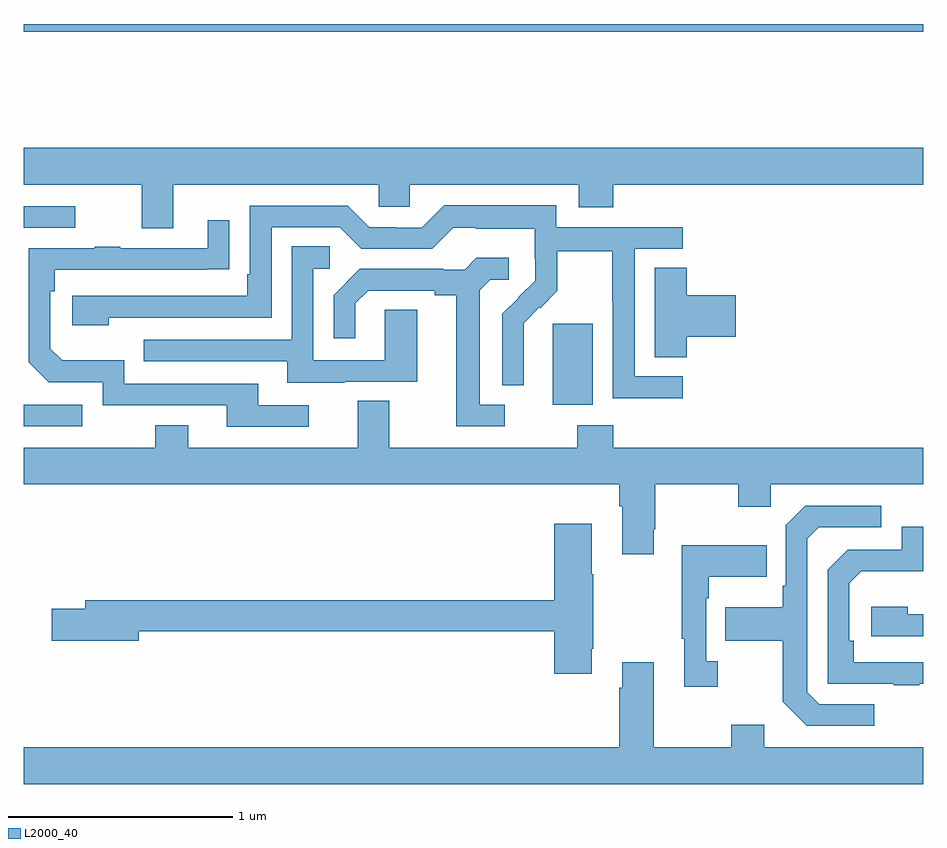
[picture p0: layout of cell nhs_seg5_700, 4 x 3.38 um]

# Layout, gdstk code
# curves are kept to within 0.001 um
import gdstk
lib = gdstk.Library(unit=1e-6, precision=1e-09)
def R(c, l, rs):  # rectangles x0, y0, x1, y1
    for r in rs: c.add(gdstk.rectangle(r[:2], r[2:], *l))
def P(c, l, *ps):  # polygons
    for p in ps: c.add(gdstk.Polygon(p, *l))
L2000_40 = (2000, 40)

nhs_seg5_700 = lib.new_cell('nhs_seg5_700')
R(nhs_seg5_700, L2000_40, [(155,865.011,155.26,865.107), (157.352,865.106,157.531,865.467), (155,865.893,155.23,865.989), (155,866.764,159,866.799)])
P(nhs_seg5_700, L2000_40, [(155.665,866.084),(156.579,866.084),(156.579,865.986),(156.717,865.986),(156.717,866.084),(157.469,866.084),(157.469,865.985),(157.622,865.985),(157.622,866.084),(159,866.084),(159,866.248),(155,866.248),(155,866.084),(155.525,866.084),(155.525,865.89),(155.665,865.89)],
  [(157.93,865.233),(157.716,865.233),(157.716,865.8),(157.93,865.8),(157.93,865.896),(157.368,865.896),(157.368,865.993),(156.871,865.993),(156.771,865.893),(156.656,865.893),(156.656,865.896),(156.537,865.896),(156.441,865.992),(156.006,865.992),(156.006,865.687),(155.993,865.687),(155.993,865.59),(155.217,865.59),(155.217,865.46),(155.378,865.46),(155.378,865.494),(156.102,865.494),(156.102,865.896),(156.405,865.896),(156.501,865.8),(156.816,865.8),(156.909,865.893),(157.009,865.893),(157.009,865.889),(157.272,865.889),(157.272,865.755),(157.274,865.755),(157.274,865.658),(157.128,865.51),(157.128,865.192),(157.224,865.192),(157.223,865.469),(157.293,865.539),(157.296,865.536),(157.373,865.613),(157.373,865.788),(157.618,865.788),(157.618,865.564),(157.62,865.564),(157.62,865.135),(157.93,865.135)],
  [(156.268,865.104),(156.043,865.104),(156.043,865.2),(155.448,865.2),(155.448,865.303),(155.171,865.303),(155.118,865.356),(155.118,865.61),(155.138,865.61),(155.138,865.707),(155.915,865.708),(155.915,865.927),(155.819,865.927),(155.819,865.803),(155.429,865.803),(155.429,865.808),(155.317,865.808),(155.317,865.803),(155.022,865.803),(155.022,865.296),(155.112,865.206),(155.352,865.206),(155.352,865.104),(155.903,865.104),(155.903,865.008),(156.268,865.008)],
  [(156.427,865.209),(156.751,865.209),(156.751,865.529),(156.606,865.529),(156.606,865.305),(156.288,865.305),(156.288,865.71),(156.361,865.71),(156.361,865.811),(156.192,865.811),(156.192,865.395),(155.533,865.395),(155.533,865.299),(156.173,865.299),(156.173,865.205),(156.427,865.205)],
  [(157.138,865.107),(157.027,865.107),(157.027,865.615),(157.074,865.662),(157.156,865.662),(157.156,865.759),(157.012,865.759),(156.96,865.707),(156.866,865.707),(156.866,865.71),(156.494,865.71),(156.378,865.594),(156.378,865.401),(156.475,865.401),(156.475,865.557),(156.532,865.614),(156.827,865.614),(156.827,865.592),(156.923,865.592),(156.923,865.011),(157.138,865.011)],
  [(157.949,865.409),(158.167,865.409),(158.167,865.592),(157.949,865.592),(157.949,865.715),(157.805,865.715),(157.805,865.318),(157.949,865.318)],
  [(157.801,864.553),(157.809,864.553),(157.809,864.752),(158.176,864.752),(158.176,864.653),(158.322,864.653),(158.322,864.752),(159,864.752),(159,864.916),(157.622,864.916),(157.622,865.015),(157.462,865.015),(157.462,864.916),(156.625,864.916),(156.625,865.124),(156.485,865.124),(156.485,864.916),(155.731,864.916),(155.731,865.015),(155.584,865.015),(155.584,864.916),(155,864.916),(155,864.752),(157.649,864.752),(157.649,864.656),(157.661,864.656),(157.661,864.441),(157.801,864.441)],
  [(158.782,863.775),(158.538,863.775),(158.484,863.829),(158.484,864.51),(158.535,864.561),(158.812,864.561),(158.812,864.657),(158.475,864.657),(158.388,864.57),(158.388,864.301),(158.376,864.301),(158.376,864.205),(158.119,864.205),(158.119,864.058),(158.376,864.058),(158.376,863.785),(158.481,863.679),(158.782,863.679)],
  [(157.525,864.022),(157.533,864.022),(157.533,864.353),(157.525,864.353),(157.525,864.577),(157.358,864.577),(157.358,864.236),(155.273,864.236),(155.273,864.2),(155.124,864.2),(155.124,864.058),(155.512,864.058),(155.512,864.1),(157.358,864.1),(157.358,863.91),(157.525,863.91)],
  [(158.981,863.865),(159,863.865),(159,863.961),(158.69,863.961),(158.69,864.058),(158.67,864.058),(158.67,864.312),(158.723,864.365),(159,864.365),(159,864.564),(158.904,864.564),(158.904,864.462),(158.664,864.462),(158.574,864.372),(158.574,863.865),(158.869,863.865),(158.869,863.86),(158.981,863.86)],
  [(158.086,863.966),(158.034,863.966),(158.034,864.245),(158.047,864.245),(158.047,864.341),(158.303,864.341),(158.303,864.481),(157.926,864.481),(157.926,864.065),(157.937,864.065),(157.937,863.853),(158.086,863.853)],
  [(159,864.174),(158.93,864.174),(158.93,864.208),(158.769,864.208),(158.769,864.078),(159,864.078)],
  [(159,863.584),(158.293,863.584),(158.293,863.683),(158.146,863.683),(158.146,863.584),(157.801,863.584),(157.801,863.962),(157.661,863.962),(157.661,863.849),(157.649,863.849),(157.649,863.584),(155,863.584),(155,863.42),(159,863.42)])

lib.write_gds('nhs_seg5_700.gds')
